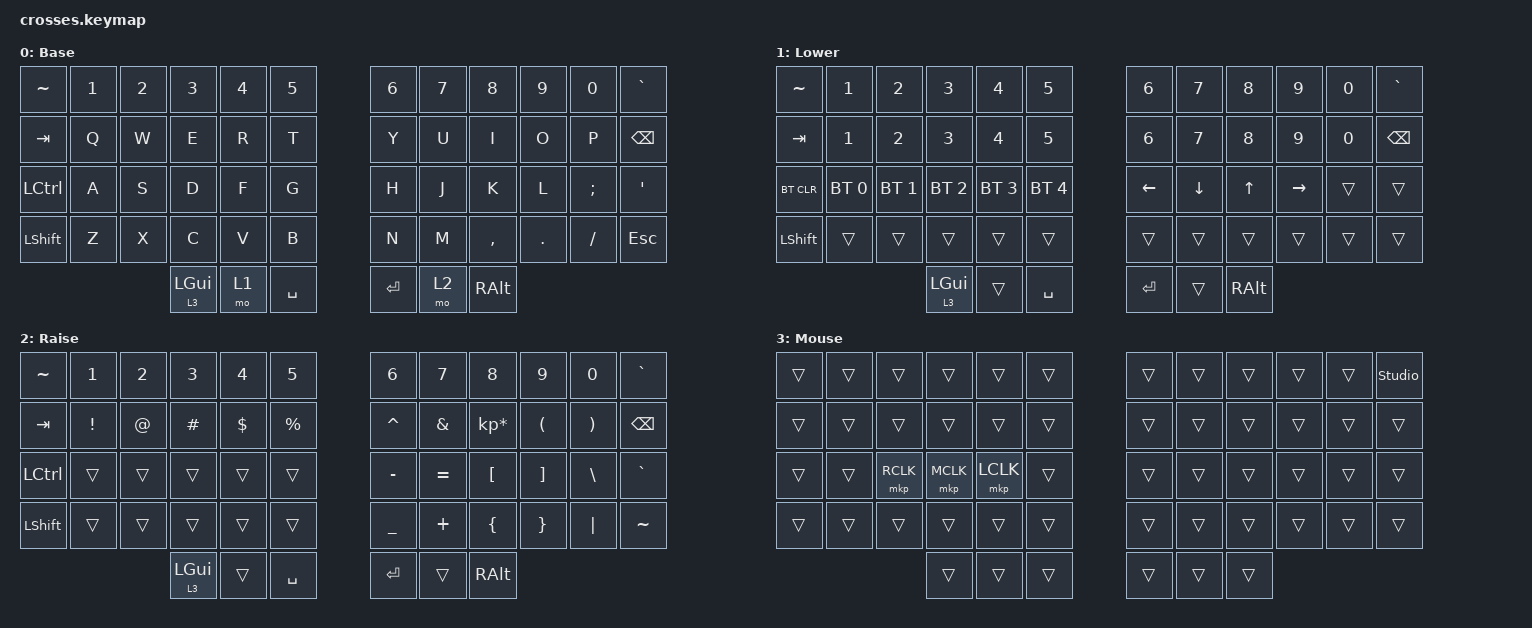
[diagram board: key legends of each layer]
#include <behaviors.dtsi>
#include <dt-bindings/zmk/bt.h>
#include <dt-bindings/zmk/keys.h>
#include <dt-bindings/zmk/pointing.h>
#include <dt-bindings/zmk/input_transform.h>
#include <input/processors.dtsi>

/ {
    chosen { zmk,physical-layout = &gggw_crosses_54_layout; };

    keymap {
        compatible = "zmk,keymap";
        default_layer {
            display-name = "Base";
            bindings = <
                &kp TILDE &kp N1 &kp N2 &kp N3 &kp N4 &kp N5   &kp N6 &kp N7  &kp N8     &kp N9   &kp N0    &kp GRAVE
                &kp TAB   &kp Q  &kp W  &kp E  &kp R  &kp T    &kp Y &kp U  &kp I     &kp O   &kp P    &kp BSPC
                &kp LCTRL &kp A  &kp S  &kp D  &kp F  &kp G    &kp H &kp J  &kp K     &kp L   &kp SEMI &kp SQT
                &kp LSHFT &kp Z  &kp X  &kp C  &kp V  &kp B    &kp N &kp M  &kp COMMA &kp DOT &kp FSLH &kp ESC
                            &lt 3 LGUI &mo 1 &kp SPACE   &kp RET &mo 2 &kp RALT
            >;
        };

        lower_layer {
            display-name = "Lower";
            bindings = <
                &kp TILDE &kp N1 &kp N2 &kp N3 &kp N4 &kp N5   &kp N6 &kp N7  &kp N8     &kp N9   &kp N0    &kp GRAVE
                &kp TAB    &kp N1       &kp N2       &kp N3       &kp N4       &kp N5         &kp N6   &kp N7   &kp N8 &kp N9    &kp N0 &kp BSPC
                &bt BT_CLR &bt BT_SEL 0 &bt BT_SEL 1 &bt BT_SEL 2 &bt BT_SEL 3 &bt BT_SEL 4   &kp LEFT &kp DOWN &kp UP &kp RIGHT &trans &trans
                &kp LSHFT  &trans       &trans       &trans       &trans       &trans         &trans   &trans   &trans &trans    &trans &trans
                                            &lt 3 LGUI     &trans       &kp SPACE      &kp RET  &trans   &kp RALT

            >;
        };

        raise_layer {
            display-name = "Raise";
            bindings = <
                &kp TILDE &kp N1 &kp N2 &kp N3 &kp N4 &kp N5   &kp N6 &kp N7  &kp N8     &kp N9   &kp N0    &kp GRAVE
                &kp  TAB  &kp EXCL &kp AT &kp HASH &kp DLLR &kp PRCNT   &kp CARET &kp AMPS  &kp KP_MULTIPLY &kp LPAR &kp RPAR &kp BSPC
                &kp LCTRL &trans   &trans &trans   &trans   &trans      &kp MINUS &kp EQUAL &kp LBKT        &kp RBKT &kp BSLH &kp GRAVE
                &kp LSHFT &trans   &trans &trans   &trans   &trans      &kp UNDER &kp PLUS  &kp LBRC        &kp RBRC &kp PIPE &kp TILDE
                                        &lt 3 LGUI &trans   &kp SPACE   &kp RET   &trans    &kp RALT
            >;
        };

        mouse_layer {
            display-name = "Mouse";
            bindings = <
                &trans &trans  &trans     &trans     &trans     &trans  &trans  &trans  &trans  &trans  &trans &studio_unlock
                &trans &trans  &trans     &trans     &trans     &trans  &trans  &trans  &trans  &trans  &trans &trans
                &trans &trans  &mkp RCLK  &mkp MCLK  &mkp LCLK  &trans  &trans  &trans  &trans  &trans  &trans &trans
                &trans &trans  &trans     &trans     &trans     &trans  &trans  &trans  &trans  &trans  &trans &trans
                                &trans     &trans     &trans  &trans  &trans  &trans
            >;
        };
    };
};

&trackball_peripheral_split {
    input-processors
        = <&zip_xy_to_scroll_mapper>
        , <&zip_scroll_transform INPUT_TRANSFORM_Y_INVERT>
        , <&zip_scroll_scaler 1 1>
        , <&zip_ble_report_rate_limit>
        ;
};
